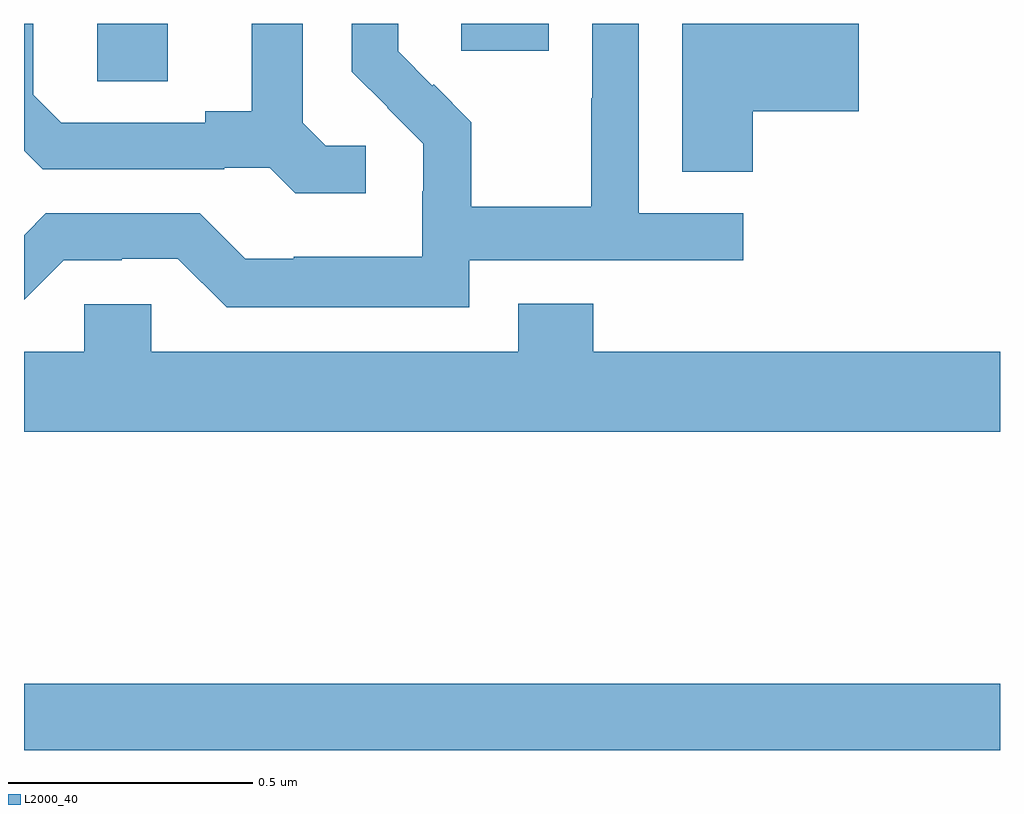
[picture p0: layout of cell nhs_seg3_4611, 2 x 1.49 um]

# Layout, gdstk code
import gdstk
lib = gdstk.Library(unit=1e-6, precision=1e-09)
def R(c, l, rs):  # rectangles x0, y0, x1, y1
    for r in rs: c.add(gdstk.rectangle(r[:2], r[2:], *l))
def P(c, l, *ps):  # polygons
    for p in ps: c.add(gdstk.Polygon(p, *l))
L2000_40 = (2000, 40)

nhs_seg3_4611 = lib.new_cell('nhs_seg3_4611')
R(nhs_seg3_4611, L2000_40, [(168,718.912,170,719.048), (168.15,720.283,168.295,720.4), (168.896,720.345,169.075,720.4)])
P(nhs_seg3_4611, L2000_40, [(168.7,720.15),(168.618,720.15),(168.571,720.197),(168.571,720.4),(168.467,720.4),(168.467,720.221),(168.371,720.221),(168.371,720.198),(168.076,720.198),(168.019,720.255),(168.019,720.4),(168,720.4),(168,720.14),(168.038,720.102),(168.41,720.102),(168.41,720.105),(168.504,720.105),(168.556,720.053),(168.7,720.053)],
  [(168.912,719.916),(169.474,719.916),(169.474,720.012),(169.26,720.012),(169.26,720.4),(169.164,720.4),(169.164,720.248),(169.162,720.248),(169.162,720.025),(168.917,720.025),(168.917,720.199),(168.84,720.276),(168.837,720.273),(168.767,720.344),(168.767,720.4),(168.672,720.4),(168.672,720.302),(168.745,720.229),(168.744,720.228),(168.818,720.154),(168.818,720.057),(168.816,720.057),(168.816,719.923),(168.553,719.923),(168.553,719.919),(168.453,719.919),(168.36,720.012),(168.045,720.012),(168,719.967),(168,719.835),(168.081,719.916),(168.2,719.916),(168.2,719.919),(168.315,719.919),(168.415,719.819),(168.912,719.819)],
  [(169.493,720.221),(169.711,720.221),(169.711,720.4),(169.349,720.4),(169.349,720.097),(169.493,720.097)],
  [(170,719.728),(169.166,719.728),(169.166,719.827),(169.013,719.827),(169.013,719.728),(168.261,719.728),(168.261,719.826),(168.123,719.826),(168.123,719.728),(168,719.728),(168,719.564),(170,719.564)])

lib.write_gds('nhs_seg3_4611.gds')
